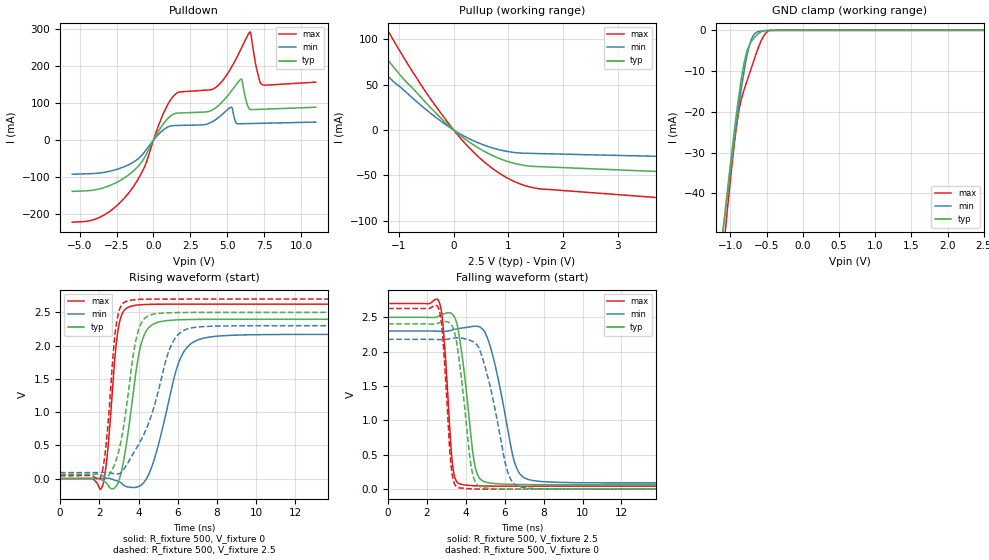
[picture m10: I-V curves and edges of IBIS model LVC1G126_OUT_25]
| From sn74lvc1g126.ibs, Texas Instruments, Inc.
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[Model]   LVC1G126_OUT_25
Model_type  3-state
Enable   Active-Low
Vref =   0
Rref =   500
Cref =   30p
Vmeas =   1.25
| variable   typ   min   max
C_comp   5.94pF   5.08pF   6.95pF
| C_pullup   9.94pF   6.18pF   11.86pF
| C_pulldown   10.12pF   6.68pF   15.62pF
| C_tri-state   5.94pF   5.08pF   6.95pF
[Temperature Range]   40   100   -40
| Ambient temperature   25   85   -40
[Voltage range]   2.5   2.3   2.7
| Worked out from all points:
|   slope of the pulldown table from 0 to 0.375 V, typ, clamps not added: 14.1 ohm
|   slope of the pullup table from 0 to 0.375 V, typ, clamps not added: 22.3 ohm
|   GND clamp passes 1 mA (typ) near -0.62 V on its own axis
|   rising waveform, R_fixture 500, V_fixture 0: 20-80 % time 687ps typ, 1.09ns min, 432ps max; typ from 0 V to 2.4 V
|   falling waveform, R_fixture 500, V_fixture 2.5: 20-80 % time 576ps typ, 918ps min, 358ps max; typ from 2.5 V to 0.064 V
|   rising waveform, R_fixture 500, V_fixture 2.5: 20-80 % time 723ps typ, 1.44ns min, 433ps max; typ from 0.064 V to 2.5 V
|   falling waveform, R_fixture 500, V_fixture 0: 20-80 % time 565ps typ, 959ps min, 344ps max; typ from 2.4 V to 0 V
[GND Clamp]
| LVC1G126_OUT_25
|   Voltage   I(typ)   I(min)   I(max)
-5.5V     -902.1mA   -833.8mA   -1.025A
-1.095V   -47.96mA   -47.98mA   -53.66mA
-1.065V   -43.06mA   -43.49mA   -48.11mA
-970mV    -28.16mA   -29.78mA   -31.53mA
-915mV    -20.2mA    -22.32mA   -23.38mA
-865mV    -13.68mA   -16.01mA   -18.07mA
-800mV    -7.078mA   -8.804mA   -13.93mA
-735mV    -3.5mA     -3.502mA   -10.5mA
-680mV    -2.005mA   -1.173mA   -7.581mA
-580mV    -409.7uA   -191uA     -2.748mA
-495mV    -16.68uA   -77.89uA   -381uA
2.5V      8.989pA    62.47nA    373.2pA
[Pulldown]
| LVC1G126_OUT_25
|   Voltage   I(typ)   I(min)   I(max)
-5.5V     -138.5mA   -92.09mA   -221.8mA
-3.76V    -132.7mA   -89.24mA   -210.8mA
-2.17V    -107mA     -74.7mA    -165.1mA
-620mV    -48.1mA    -32.49mA   -73.54mA
1.275V    68.52mA    39.27mA    115.3mA
4.215V    87.45mA    55.52mA    142.4mA
5.285V    133mA      89.09mA    196.9mA
5.595V    149.7mA    47.3mA     219.5mA
5.925V    164.7mA    44.54mA    245.9mA
6.535V    83.12mA    44.99mA    292mA
7.325V    83.62mA    45.64mA    151.3mA
11V       88.95mA    48.89mA    156.9mA
[Pullup]
| LVC1G126_OUT_25
|   Voltage   I(typ)   I(min)   I(max)
-5.5V     465.7mA    369.9mA    645.6mA
-2.065V   145.9mA    114.1mA    205.2mA
-1.695V   115.3mA    89.65mA    162.8mA
-1.265V   81.58mA    62.88mA    115.8mA
-905mV    55.37mA    43.47mA    78.94mA
-455mV    26.68mA    20.02mA    37.01mA
-95mV     5.052mA    3.755mA    7.344mA
230mV     -10.87mA   -7.904mA   -16.06mA
555mV     -23.32mA   -16.59mA   -34.89mA
850mV     -31.67mA   -21.97mA   -48.08mA
1.43V     -39.92mA   -25.76mA   -63.19mA
11V       -63.86mA   -39.04mA   -107.3mA
[Ramp]
| LVC1G126_OUT_25
| variable   typ   min   max
dV/dt_r   1.53/7.37E-10   1.38/1.17E-09   1.67/4.64E-10
dV/dt_f   1.50/5.98E-10   1.37/9.59E-10   1.63/3.71E-10
R_load = 500
[Rising Waveform]
| LVC1G126_OUT_25
R_fixture =   500
C_fixture =   0
L_fixture =   0
V_fixture =   0
V_fixture_min = 0
V_fixture_max = 0
|   Time   V(typ)   V(min)   V(max)
0s        130.8pV    6.656nV    552pV
2.14ns    -23.21mV   2.312mV    -125.3mV
2.39ns    -78.53mV   5.936mV    314.9mV
2.98ns    -42.98mV   -43.41mV   2.279V
3.785ns   1.417V     -135.1mV   2.603V
4.135ns   2.026V     -96.88mV   2.615V
4.59ns    2.291V     112.7mV    2.621V
6.125ns   2.389V     1.801V     2.623V
7.54ns    2.395V     2.125V     2.624V
50ns      2.396V     2.169V     2.624V
[Falling Waveform]
| LVC1G126_OUT_25
R_fixture =   500
C_fixture =   0
L_fixture =   0
V_fixture =   2.5
V_fixture_min = 2.3
V_fixture_max = 2.7
|   Time   V(typ)   V(min)   V(max)
0s        2.5V       2.3V       2.7V
2.625ns   2.519V     2.296V     2.725V
2.84ns    2.546V     2.295V     2.333V
3.32ns    2.541V     2.317V     345.7mV
3.81ns    1.939V     2.344V     68.13mV
4.655ns   180.5mV    2.365V     47.79mV
5.365ns   85.05mV    1.965V     44.71mV
6.55ns    68.5mV     351.7mV    43.64mV
7.445ns   65.9mV     125.6mV    43.48mV
50ns      64.3mV     89.84mV    43.36mV
[Rising Waveform]
| LVC1G126_OUT_25
R_fixture =   500
C_fixture =   0
L_fixture =   0
V_fixture =   2.5
V_fixture_min = 2.3
V_fixture_max = 2.7
|   Time   V(typ)   V(min)   V(max)
0s        64.28mV    89.79mV    43.35mV
2.065ns   55.39mV    90.84mV    20.02mV
2.345ns   29.22mV    94.99mV    512.7mV
2.89ns    309.5mV    69.34mV    2.367V
3.57ns    1.507V     296.3mV    2.681V
3.9ns     2.129V     461.1mV    2.692V
4.3ns     2.405V     682mV      2.697V
5.68ns    2.495V     2.014V     2.7V
6.82ns    2.499V     2.272V     2.7V
50ns      2.5V       2.3V       2.7V
[Falling Waveform]
| LVC1G126_OUT_25
R_fixture =   500
C_fixture =   0
L_fixture =   0
V_fixture =   0
V_fixture_min = 0
V_fixture_max = 0
|   Time   V(typ)   V(min)   V(max)
0s        2.403V     2.179V     2.628V
2.59ns    2.417V     2.176V     2.635V
2.8ns     2.436V     2.175V     2.253V
3.265ns   2.385V     2.191V     281.7mV
3.695ns   1.791V     2.199V     18.46mV
4.235ns   400.1mV    2.164V     5.565mV
4.49ns    102.4mV    2.122V     3.179mV
6.16ns    2.42mV     241.1mV    225.2uV
6.93ns    907.7uV    23.2mV     115.6uV
50ns      23.34uV    41.13uV    12uV
